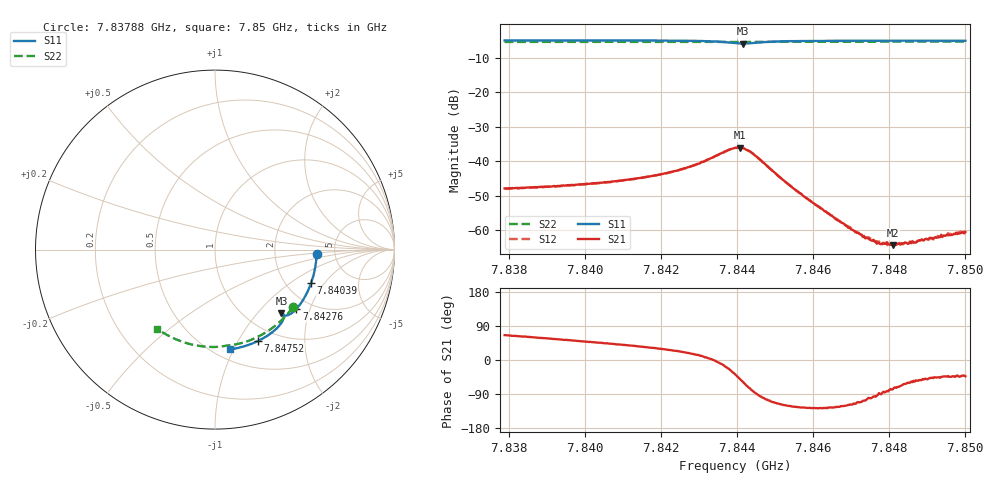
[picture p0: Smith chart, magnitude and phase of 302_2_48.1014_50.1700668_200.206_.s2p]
#  HZ  S  RI  R  50.00
! Rohde & Schwarz Vector Network Analyzer
! Rohde-Schwarz,ZNB20-2Port,1311601062101988,3.16
! Created: UTC 12/23/2023, 4:04:51 AM
! freq[Hz]  re:S11  im:S11  re:S21  im:S21  re:S12  im:S12  re:S22  im:S22
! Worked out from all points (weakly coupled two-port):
!   401 points, 7.83788 GHz to 7.85 GHz, reference 50 ohm
!   highest |S21| = -35.99 dB at 7.84406 GHz (marker M1); lowest = -64.3 dB at 7.84809 GHz (marker M2)
!   lowest |S11| = -5.8 dB at 7.84415 GHz (marker M3), VSWR 3.10, Z = 70.7 - j67.8 ohm
!   |S11| at or under -10 dB: nowhere
!   |S22| runs from -5.4 to -5.3 dB; largest |S21 - S12| = 0.00033
!   S11 on the Smith chart (normalised r, x): 7.83788 GHz: 3.60, -0.24; 7.84039 GHz: 2.70, -1.49; 7.84276 GHz: 1.67, -1.62; 7.84752 GHz: 0.82, -1.22; 7.85 GHz: 0.59, -0.96
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7.837877e9  0.5661 -0.0225  0.00168 0.0037  0.00165 0.00365  0.4339 -0.3212
7.839908e9  0.5451 -0.1563  0.00304 0.00354  0.00301 0.00354  0.3357 -0.4238
7.840393e9  0.535 -0.1873  0.00344 0.00353  0.00339 0.00348  0.3086 -0.4444
7.841938e9  0.489 -0.2836  0.00557 0.00321  0.00556 0.00321  0.214 -0.4973
7.842757e9  0.453 -0.3316  0.00803 0.00252  0.00798 0.00256  0.1599 -0.5172
7.843484e9  0.4052 -0.3657  0.0124 -0.0012  0.0123 -0.00121  0.11 -0.5293
7.843939e9  0.3719 -0.3621  0.0125 -0.00961  0.0125 -0.00945  0.0797 -0.533
7.84406e9  0.3692 -0.3569  0.0103 -0.012  0.0103 -0.0119  0.0722 -0.534
7.844151e9  0.3702 -0.3537  0.00817 -0.0132  0.00829 -0.0131  0.0665 -0.5347
7.844303e9  0.3754 -0.353  0.00414 -0.0137  0.00424 -0.0136  0.0569 -0.5362
7.844454e9  0.3807 -0.3588  0.000954 -0.0123  0.00104 -0.0124  0.0469 -0.538
7.845303e9  0.3642 -0.4166  -0.00246 -0.00421  -0.00247 -0.00423  -0.0124 -0.5427
7.84597e9  0.3302 -0.4515  -0.00155 -0.00206  -0.00153 -0.00206  -0.0594 -0.5404
7.847061e9  0.2677 -0.4945  -0.000416 -0.000903  -0.000404 -0.000881  -0.1351 -0.5273
7.847334e9  0.2513 -0.5035  -0.000244 -0.000796  -0.000236 -0.00077  -0.1537 -0.5224
7.847516e9  0.2402 -0.5089  -0.000137 -0.000708  -0.000154 -0.00075  -0.1659 -0.5187
7.847728e9  0.2271 -0.5148  3.13e-05 -0.000649  -5.58e-05 -0.000691  -0.18 -0.5141
7.848001e9  0.2103 -0.5221  0.000123 -0.00061  0.000113 -0.000645  -0.1981 -0.5076
7.848092e9  0.2046 -0.5245  0.000135 -0.000595  0.000137 -0.000591  -0.2041 -0.5054
7.848698e9  0.1661 -0.5379  0.000393 -0.000538  0.000384 -0.00056  -0.243 -0.4882
7.849426e9  0.1191 -0.5499  0.000611 -0.000585  0.000605 -0.000587  -0.2877 -0.4636
7.850002e9  0.0814 -0.5565  0.000695 -0.000645  0.000739 -0.000646  -0.3213 -0.4414
